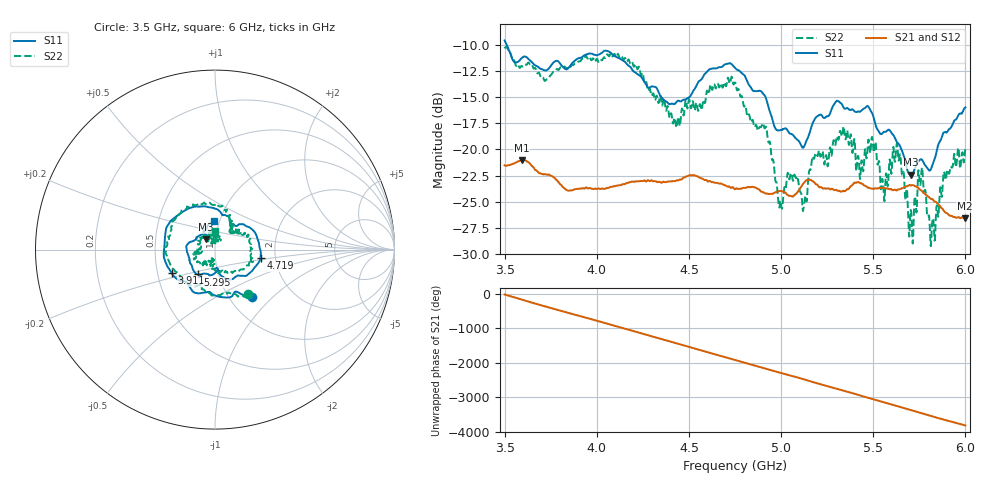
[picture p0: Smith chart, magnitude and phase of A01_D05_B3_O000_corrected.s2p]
! Created with skrf 1.9.0 (http://scikit-rf.org).
# Hz S RI R 50.0
!freq ReS11 ImS11 ReS21 ImS21 ReS12 ImS12 ReS22 ImS22
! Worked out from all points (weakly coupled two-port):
!   1601 points, 3.5 GHz to 6 GHz, reference 50 ohm
!   highest |S21| = -21.00 dB at 3.592 GHz (marker M1); lowest = -26.6 dB at 5.997 GHz (marker M2)
!   lowest |S11| = -22.4 dB at 5.703 GHz (marker M3), VSWR 1.16, Z = 45.1 + j5.24 ohm
!   |S11| at or under -10 dB: 3.512 GHz to end of sweep
!   |S22| runs from -29.2 to -10.2 dB; largest |S21 - S12| = 0.001
!   S11 on the Smith chart (normalised r, x): 3.5 GHz: 1.27, -0.75; 3.911 GHz: 0.59, -0.17; 4.719 GHz: 1.67, -0.17; 5.295 GHz: 0.80, -0.23; 6 GHz: 0.94, +0.30
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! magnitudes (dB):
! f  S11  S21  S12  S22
! 3.5 GHz  -9.6  -21.5  -21.5  -10.2
! 3.592 GHz  -11.3  -21.0  -21.0  -12.0
! 3.911 GHz  -11.2  -23.8  -23.7  -11.6
! 3.917 GHz  -11.2  -23.7  -23.7  -11.4
! 4.334 GHz  -14.5  -23.1  -23.1  -15.5
! 4.441 GHz  -15.3  -23.0  -22.9  -17.0
! 4.719 GHz  -11.8  -23.5  -23.6  -13.6
! 4.75 GHz  -12.2  -23.8  -23.7  -13.6
! 4.912 GHz  -14.9  -24.2  -24.1  -18.0
! 4.995 GHz  -18.2  -24.0  -23.9  -24.9
! 5.047 GHz  -18.5  -24.4  -24.4  -22.8
! 5.128 GHz  -19.6  -23.1  -23.1  -24.8
! 5.167 GHz  -17.7  -23.0  -23.0  -20.9
! 5.295 GHz  -15.5  -23.9  -23.8  -19.5
! 5.584 GHz  -18.1  -23.8  -23.7  -22.0
! 5.638 GHz  -19.5  -23.8  -23.8  -21.1
! 5.703 GHz  -22.4  -23.4  -23.4  -25.8
! 5.755 GHz  -21.0  -23.8  -23.8  -23.4
! 5.822 GHz  -21.4  -24.8  -24.8  -26.7
! 5.891 GHz  -18.3  -26.0  -26.0  -22.8
! 5.997 GHz  -16.0  -26.6  -26.5  -20.4
! 6 GHz  -16.0  -26.5  -26.5  -19.8
